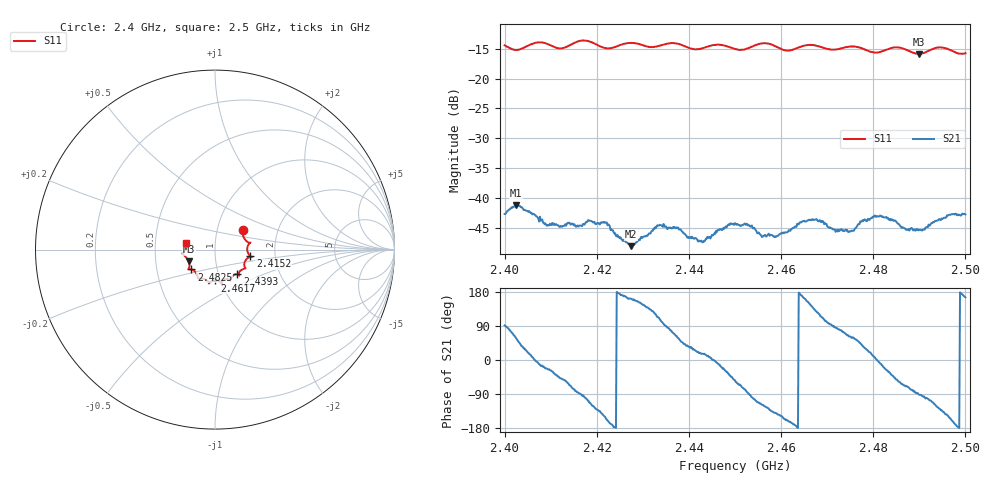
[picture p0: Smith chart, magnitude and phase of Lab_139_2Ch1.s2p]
# Hz S RI R 50
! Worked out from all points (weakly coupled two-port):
!   601 points, 2.4 GHz to 2.5 GHz, reference 50 ohm
!   highest |S21| = -41.18 dB at 2.4025 GHz (marker M1); lowest = -48.1 dB at 2.4275 GHz (marker M2)
!   lowest |S11| = -15.9 dB at 2.4898 GHz (marker M3), VSWR 1.38, Z = 36.9 - j4.92 ohm
!   |S11| at or under -10 dB: start of sweep to end of sweep
!   S12 and S22 are empty: the file has one direction only
!   S11 on the Smith chart (normalised r, x): 2.4 GHz: 1.33, +0.30; 2.4152 GHz: 1.48, -0.11; 2.4393 GHz: 1.23, -0.35; 2.4617 GHz: 0.94, -0.33; 2.4825 GHz: 0.75, -0.17; 2.5 GHz: 0.72, +0.05
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2.4e9  0.1553 0.1098  -0.000156 0.00732  0 0  0 0
2.4025e9  0.1597 0.0692  0.00469 0.00736  0 0  0 0
2.409167e9  0.1927 0.036  0.00539 -0.00225  0 0  0 0
2.412167e9  0.1793 0.00111  0.00385 -0.00437  0 0  0 0
2.415167e9  0.1963 -0.0367  0.00128 -0.00586  0 0  0 0
2.416667e9  0.2041 -0.0422  -0.000127 -0.00583  0 0  0 0
2.421667e9  0.1713 -0.0584  -0.00539 -0.00325  0 0  0 0
2.4275e9  0.1703 -0.1039  -0.00373 0.00127  0 0  0 0
2.433333e9  0.1326 -0.1327  -0.00226 0.0054  0 0  0 0
2.439333e9  0.1237 -0.1379  0.00382 0.00301  0 0  0 0
2.443e9  0.0909 -0.1552  0.00406 0.0012  0 0  0 0
2.45e9  0.067 -0.1643  0.00363 -0.00496  0 0  0 0
2.456333e9  0.0387 -0.1945  -0.00254 -0.00411  0 0  0 0
2.461667e9  0.000754 -0.172  -0.0051 -0.00166  0 0  0 0
2.466667e9  -0.0337 -0.1888  -0.0052 0.00405  0 0  0 0
2.475e9  -0.0918 -0.1615  0.00245 0.00463  0 0  0 0
2.477667e9  -0.0969 -0.1503  0.00514 0.00398  0 0  0 0
2.4825e9  -0.1324 -0.1109  0.00634 -0.00259  0 0  0 0
2.483333e9  -0.1397 -0.11  0.00561 -0.00351  0 0  0 0
2.489833e9  -0.1474 -0.065  -2.87e-05 -0.00535  0 0  0 0
2.4945e9  -0.1814 -0.0224  -0.00416 -0.00506  0 0  0 0
2.5e9  -0.1595 0.0354  -0.00703 0.00184  0 0  0 0
